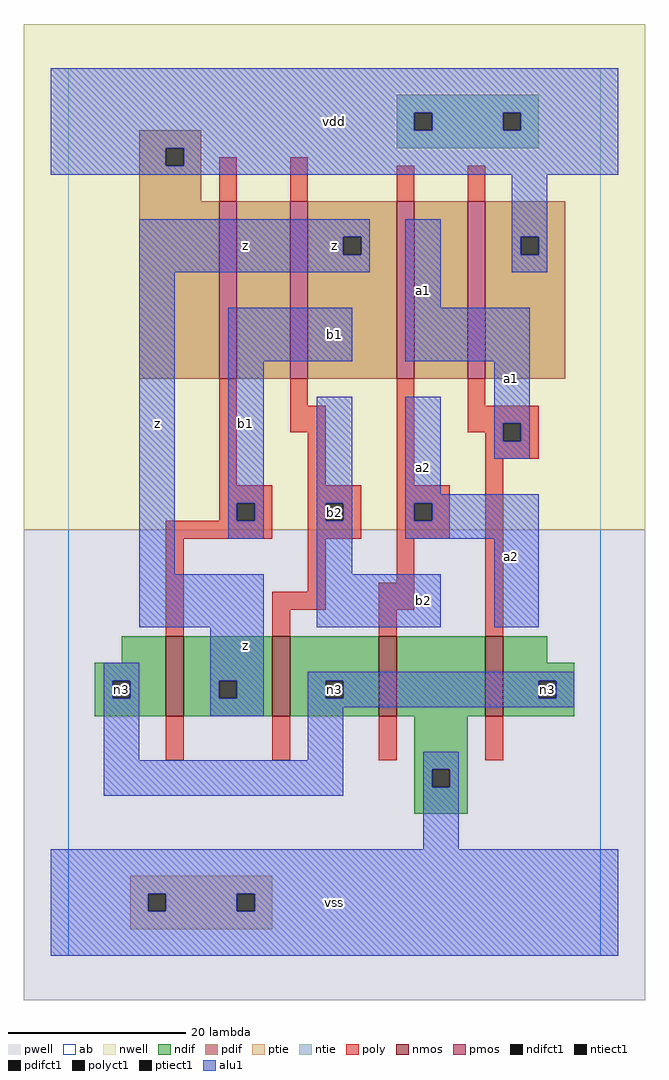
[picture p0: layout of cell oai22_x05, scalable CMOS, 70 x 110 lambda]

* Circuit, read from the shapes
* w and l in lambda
.subckt oai22_x05 a1 a2 b1 b2 n3 vdd vss z
M1 z b1 n3 vss nfet w=9 l=2
M2 n3 b2 z vss nfet w=9 l=2
M3 vss a2 n3 vss nfet w=9 l=2
M4 n3 a1 vss vss nfet w=9 l=2
M5 n1 b1 vdd vdd pfet w=20 l=2
M6 z b2 n1 vdd pfet w=20 l=2
M7 n2 a2 z vdd pfet w=20 l=2
M8 vdd a1 n2 vdd pfet w=20 l=2
.ends

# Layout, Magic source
magic
tech scmos
<< ab >>
rect 0 0 60 100
<< nwell >>
rect -5 48 65 105
<< pwell >>
rect -5 -5 65 48
<< poly >>
rect 17 85 19 90
rect 25 85 27 90
rect 37 85 39 89
rect 45 85 47 89
rect 17 53 19 65
rect 25 62 27 65
rect 25 59 29 62
rect 27 53 29 59
rect 37 53 39 65
rect 45 62 47 65
rect 45 60 53 62
rect 45 59 49 60
rect 47 58 49 59
rect 51 58 53 60
rect 47 56 53 58
rect 17 51 23 53
rect 17 49 19 51
rect 21 49 23 51
rect 11 47 23 49
rect 27 51 33 53
rect 27 49 29 51
rect 31 49 33 51
rect 27 47 33 49
rect 37 51 43 53
rect 37 49 39 51
rect 41 49 43 51
rect 37 47 43 49
rect 11 36 13 47
rect 27 41 29 47
rect 37 42 39 47
rect 23 39 29 41
rect 35 39 39 42
rect 23 36 25 39
rect 35 36 37 39
rect 47 36 49 56
rect 11 22 13 27
rect 23 22 25 27
rect 35 22 37 27
rect 47 22 49 27
<< ndif >>
rect 6 33 11 36
rect 3 31 11 33
rect 3 29 5 31
rect 7 29 11 31
rect 3 27 11 29
rect 13 31 23 36
rect 13 29 17 31
rect 19 29 23 31
rect 13 27 23 29
rect 25 31 35 36
rect 25 29 29 31
rect 31 29 35 31
rect 25 27 35 29
rect 37 27 47 36
rect 49 33 54 36
rect 49 31 57 33
rect 49 29 53 31
rect 55 29 57 31
rect 49 27 57 29
rect 39 21 45 27
rect 39 19 41 21
rect 43 19 45 21
rect 39 16 45 19
<< pdif >>
rect 8 91 15 93
rect 8 89 11 91
rect 13 89 15 91
rect 8 85 15 89
rect 8 65 17 85
rect 19 65 25 85
rect 27 81 37 85
rect 27 79 31 81
rect 33 79 37 81
rect 27 65 37 79
rect 39 65 45 85
rect 47 81 56 85
rect 47 79 51 81
rect 53 79 56 81
rect 47 65 56 79
<< alu1 >>
rect -2 95 62 100
rect -2 93 39 95
rect 41 93 49 95
rect 51 93 62 95
rect -2 91 62 93
rect -2 89 11 91
rect 13 89 62 91
rect -2 88 62 89
rect 8 81 34 83
rect 8 79 31 81
rect 33 79 34 81
rect 8 77 34 79
rect 8 43 12 77
rect 38 73 42 83
rect 50 81 54 88
rect 50 79 51 81
rect 53 79 54 81
rect 50 77 54 79
rect 18 67 32 73
rect 38 67 52 73
rect 18 51 22 67
rect 18 49 19 51
rect 21 49 22 51
rect 18 47 22 49
rect 28 51 32 63
rect 28 49 29 51
rect 31 49 32 51
rect 28 43 32 49
rect 38 52 42 63
rect 48 60 52 67
rect 48 58 49 60
rect 51 58 52 60
rect 48 56 52 58
rect 38 51 53 52
rect 38 49 39 51
rect 41 49 53 51
rect 38 47 53 49
rect 8 37 22 43
rect 28 37 42 43
rect 48 37 53 47
rect 4 31 8 33
rect 4 29 5 31
rect 7 29 8 31
rect 4 22 8 29
rect 16 31 22 37
rect 16 29 17 31
rect 19 29 22 31
rect 16 27 22 29
rect 27 31 57 32
rect 27 29 29 31
rect 31 29 53 31
rect 55 29 57 31
rect 27 28 57 29
rect 27 22 31 28
rect 4 18 31 22
rect 40 21 44 23
rect 40 19 41 21
rect 43 19 44 21
rect 40 12 44 19
rect -2 7 62 12
rect -2 5 9 7
rect 11 5 19 7
rect 21 5 62 7
rect -2 0 62 5
<< ptie >>
rect 7 7 23 9
rect 7 5 9 7
rect 11 5 19 7
rect 21 5 23 7
rect 7 3 23 5
<< ntie >>
rect 37 95 53 97
rect 37 93 39 95
rect 41 93 49 95
rect 51 93 53 95
rect 37 91 53 93
<< nmos >>
rect 11 27 13 36
rect 23 27 25 36
rect 35 27 37 36
rect 47 27 49 36
<< pmos >>
rect 17 65 19 85
rect 25 65 27 85
rect 37 65 39 85
rect 45 65 47 85
<< polyct1 >>
rect 49 58 51 60
rect 19 49 21 51
rect 29 49 31 51
rect 39 49 41 51
<< ndifct1 >>
rect 5 29 7 31
rect 17 29 19 31
rect 29 29 31 31
rect 53 29 55 31
rect 41 19 43 21
<< ntiect1 >>
rect 39 93 41 95
rect 49 93 51 95
<< ptiect1 >>
rect 9 5 11 7
rect 19 5 21 7
<< pdifct1 >>
rect 11 89 13 91
rect 31 79 33 81
rect 51 79 53 81
<< labels >>
rlabel ndifct1 6 30 6 30 6 n3
rlabel ndifct1 30 30 30 30 6 n3
rlabel ndifct1 54 30 54 30 6 n3
rlabel alu1 10 60 10 60 6 z
rlabel alu1 20 35 20 35 6 z
rlabel alu1 20 60 20 60 6 b1
rlabel alu1 20 80 20 80 6 z
rlabel alu1 30 6 30 6 6 vss
rlabel alu1 40 40 40 40 6 b2
rlabel polyct1 30 50 30 50 6 b2
rlabel alu1 30 70 30 70 6 b1
rlabel alu1 40 55 40 55 6 a2
rlabel alu1 40 75 40 75 6 a1
rlabel alu1 30 80 30 80 6 z
rlabel alu1 30 94 30 94 6 vdd
rlabel alu1 50 45 50 45 6 a2
rlabel alu1 50 65 50 65 6 a1
<< end >>
